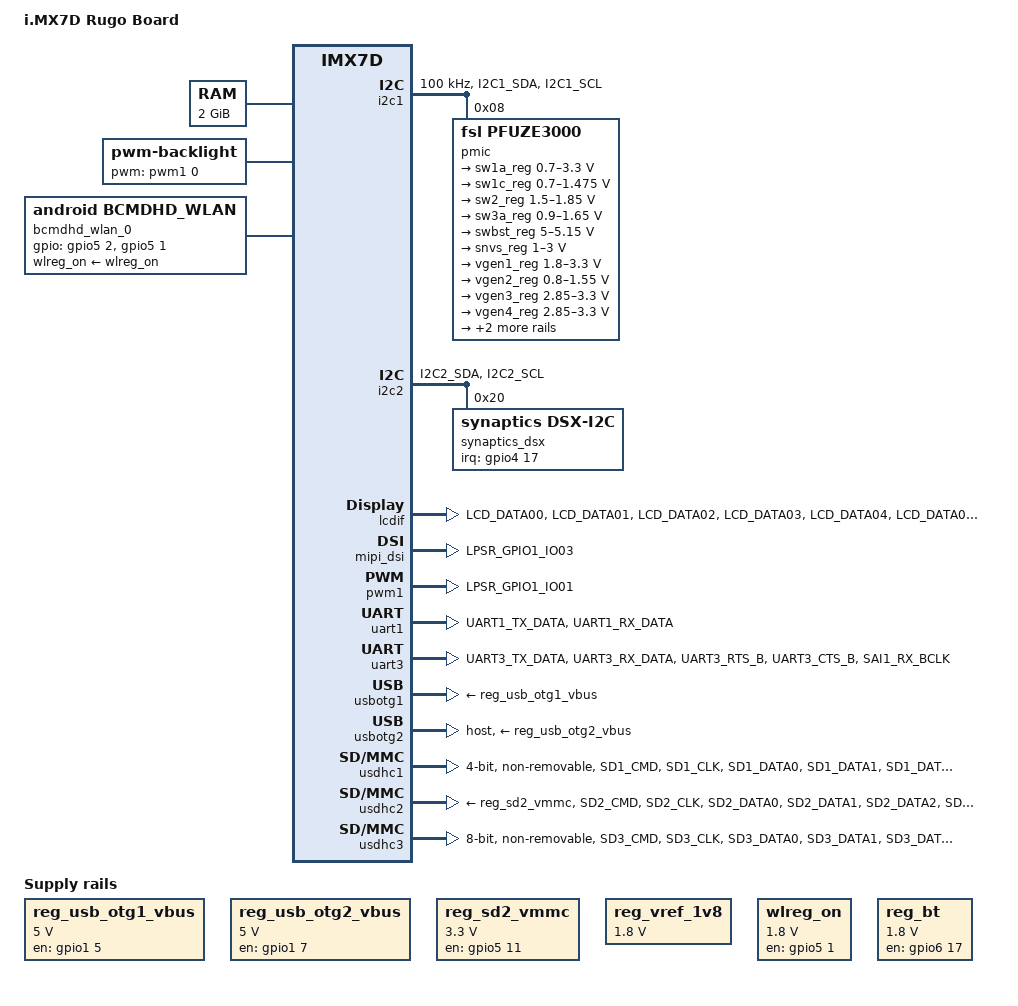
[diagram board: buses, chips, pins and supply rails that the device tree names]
/*
 * Copyright (C) 2015 Freescale Semiconductor, Inc.
 *
 * This program is free software; you can redistribute it and/or modify
 * it under the terms of the GNU General Public License version 2 as
 * published by the Free Software Foundation.
 */


/dts-v1/;
#include <dt-bindings/input/input.h>
#include "imx7d.dtsi"

/ {
	model = "i.MX7D Rugo Board";
	compatible = "RUGO,imx7d-rugo", "fsl,imx7d";

	memory {
		reg = <0x80000000 0x80000000>;
	};

	backlight {
		compatible = "pwm-backlight";
		pwms = <&pwm1 0 5000000>;
		brightness-levels = <0 4 8 16 32 64 128 255>;
		default-brightness-level = <6>;
		status = "okay";
	};

	mipi_dsi_reset: mipi-dsi-reset {
		compatible = "gpio-reset";
		/*reset-gpios = <&gpio7 6 GPIO_ACTIVE_LOW>;
		reset-delay-us = <50>;*/
		#reset-cells = <0>;
	};

	pxp_v4l2_out {
		compatible = "fsl,imx7d-pxp-v4l2", "fsl,imx6sx-pxp-v4l2", "fsl,imx6sl-pxp-v4l2";
		status = "okay";
	};
/*
	sound {
		compatible = "fsl,imx7d-evk-wm8960",
			     "fsl,imx-audio-wm8960";
		model = "wm8960-audio";
		cpu-dai = <&sai1>;
		audio-codec = <&codec>;
		codec-master;
		JD2: hp detect high for headphone
		hp-det = <2 0>;
		hp-det-gpios = <&gpio2 28 0>;
		audio-routing =
			"Headphone Jack", "HP_L",
			"Headphone Jack", "HP_R",
			"Ext Spk", "SPK_LP",
			"Ext Spk", "SPK_LN",
			"Ext Spk", "SPK_RP",
			"Ext Spk", "SPK_RN",
			"LINPUT1", "Main MIC",
			"Main MIC", "MICB";
		assigned-clocks = <&clks IMX7D_AUDIO_MCLK_ROOT_SRC>,
			          <&clks IMX7D_AUDIO_MCLK_ROOT_CLK>;
		assigned-clock-parents = <&clks IMX7D_PLL_AUDIO_POST_DIV>;
		assigned-clock-rates = <0>, <12288000>;
	};

	sound-hdmi {
		compatible = "fsl,imx7d-sdb-sii902x",
			   "fsl,imx-audio-sii902x";
		model = "sii902x-audio";
		cpu-dai = <&sai3>;
		hdmi-controler = <&sii902x>;
	};
	spi1 {
		compatible = "spi-gpio";
		pinctrl-names = "default";
		pinctrl-0 = <&pinctrl_spi1>;
		status = "okay";
		gpio-sck = <&gpio1 13 0>;
		gpio-mosi = <&gpio1 9 0>;
		cs-gpios = <&gpio1 12 0>;
		num-chipselects = <1>;
		#address-cells = <1>;
		#size-cells = <0>;

		gpio_spi: gpio_spi@0 {
			compatible = "fairchild,74hc595";
			gpio-controller;
			#gpio-cells = <2>;
			reg = <0>;
			registers-number = <1>;
			registers-default = /bits/ 8 <0x74>;  0x111 0100 Enable PERI_3V3, SENSOR_RST_B and HDMI_RST
			spi-max-frequency = <100000>;
		};
	};
*/
	
	regulators {                                    
		compatible = "simple-bus";
		#address-cells = <1>;
		#size-cells = <0>;

		reg_usb_otg1_vbus: regulator@0 {   			
			compatible = "regulator-fixed";
			reg = <0>;
			regulator-name = "usb_otg1_vbus";
			regulator-min-microvolt = <5000000>;
			regulator-max-microvolt = <5000000>;
			gpio = <&gpio1 5 0>;
			enable-active-high;
		};

		reg_usb_otg2_vbus: regulator@1 {			
			compatible = "regulator-fixed";
			reg = <1>;
			regulator-name = "usb_otg2_vbus";
			regulator-min-microvolt = <5000000>;
			regulator-max-microvolt = <5000000>;
			gpio = <&gpio1 7 0>;
			enable-active-high;
		};
		
		reg_sd2_vmmc: regulator@3 {					
			compatible = "regulator-fixed";
			regulator-name = "VDD_SD2";
			regulator-min-microvolt = <3300000>;
			regulator-max-microvolt = <3300000>;
			gpio = <&gpio5 11 GPIO_ACTIVE_HIGH>;	
			startup-delay-us = <200000>;
			enable-active-high;
		};

		reg_vref_1v8: regulator@5 {					
			compatible = "regulator-fixed";
			reg = <5>;
			regulator-name = "vref-1v8";
			regulator-min-microvolt = <1800000>;
			regulator-max-microvolt = <1800000>;
		};
	};

	bcmdhd_wlan_0: bcmdhd_wlan@0 {
		compatible = "android,bcmdhd_wlan";	
		/* WL_HOST_WAKE=GPIO<5,2>, WL_REG_ON=GPIO<5,1>  */
		gpios = <&gpio5 2 0>,<&gpio5 1 0>;
		wlreg_on-supply = <&wlreg_on>;				
	};

	regulators {
		compatible = "simple-bus";
		#address-cells = <1>;
		#size-cells = <0>;

		wlreg_on: fixedregulator@100 {				
			compatible = "regulator-fixed";
			regulator-min-microvolt = <1800000>;
			regulator-max-microvolt = <1800000>;
			regulator-name = "wlreg_on";
			gpio = <&gpio5 1 0>;
			startup-delay-us = <100>;
			enable-active-high;
		};
	};
	reg_bt: bt-reg {
		compatible = "regulator-fixed";
		gpio = <&gpio6 17 GPIO_ACTIVE_HIGH>;
		regulator-name = "bt_reg";
		regulator-min-microvolt = <1800000>;
		regulator-max-microvolt = <1800000>;
		enable-active-high;
		regulator-always-on;

	};

};

&cpu0 {
	arm-supply = <&sw1a_reg>;
};

&clks {
	assigned-clocks = <&clks IMX7D_PLL_AUDIO_POST_DIV>;
	assigned-clock-rates = <884736000>;
};

&i2c1 {
	clock-frequency = <100000>;
	pinctrl-names = "default";
	pinctrl-0 = <&pinctrl_i2c1>;
	status = "okay";

	pmic: pfuze3000@08 {
		compatible = "fsl,pfuze3000";
		reg = <0x08>;

		regulators {
			sw1a_reg: sw1a {
				regulator-min-microvolt = <700000>;
				regulator-max-microvolt = <3300000>;
				regulator-boot-on;
				regulator-always-on;
				regulator-ramp-delay = <6250>;
			};

			/* use sw1c_reg to align with pfuze100/pfuze200 */
			sw1c_reg: sw1b {
				regulator-min-microvolt = <700000>;
				regulator-max-microvolt = <1475000>;
				regulator-boot-on;
				regulator-always-on;
				regulator-ramp-delay = <6250>;
			};

			sw2_reg: sw2 {
				regulator-min-microvolt = <1500000>;
				regulator-max-microvolt = <1850000>;
				regulator-boot-on;
				regulator-always-on;
			};

			sw3a_reg: sw3 {
				regulator-min-microvolt = <900000>;
				regulator-max-microvolt = <1650000>;
				regulator-boot-on;
				regulator-always-on;
			};

			swbst_reg: swbst {
				regulator-min-microvolt = <5000000>;
				regulator-max-microvolt = <5150000>;
			};

			snvs_reg: vsnvs {
				regulator-min-microvolt = <1000000>;
				regulator-max-microvolt = <3000000>;
				regulator-boot-on;
				regulator-always-on;
			};

			vref_reg: vrefddr {
				regulator-boot-on;
				regulator-always-on;
			};

			vgen1_reg: vldo1 {
				regulator-min-microvolt = <1800000>;
				regulator-max-microvolt = <3300000>;
				regulator-always-on;
			};

			vgen2_reg: vldo2 {
				regulator-min-microvolt = <800000>;
				regulator-max-microvolt = <1550000>;
				regulator-always-on;
			};

			vgen3_reg: vccsd {
				regulator-min-microvolt = <2850000>;
				regulator-max-microvolt = <3300000>;
				regulator-always-on;
			};

			vgen4_reg: v33 {
				regulator-min-microvolt = <2850000>;
				regulator-max-microvolt = <3300000>;
				regulator-always-on;
			};

			vgen5_reg: vldo3 {
				regulator-min-microvolt = <1800000>;
				regulator-max-microvolt = <3300000>;
				regulator-always-on;
			};

			vgen6_reg: vldo4 {
				regulator-min-microvolt = <1800000>;
				regulator-max-microvolt = <3300000>;
				regulator-always-on;
			};
		};
	};
};


&i2c2 {
	cclock-frequency = <100000>;
	pinctrl-names = "default";
	pinctrl-0 = <&pinctrl_i2c2>;
	status = "okay";

	 himax-ts@48 {
		status = "disabled";
                compatible = "himax,852xes";
                reg = <0x48>;
                pinctrl-0 = <&pinctrl_ctp>;
                interrupt-parent = <&gpio4>;
                interrupts = <17 IRQ_TYPE_EDGE_FALLING>;

                himax,panel-coords = <0 320 0 320>;
                himax,display-coords = <0 320 0 320>;
                himax,irq-gpio = <&gpio4 17 0x00>;
                report_type = <1>;
	};

	synaptics_dsx@20 {
		compatible = "synaptics,dsx-i2c";
		reg = <0x20>;

		interrupt-parent = <&gpio4>;
		interrupts = <17 IRQ_TYPE_EDGE_FALLING>;

		pinctrl-names = "default";
		pinctrl-0 = <&pinctrl_ts_active>;
		synaptics,ub-i2c-addr = <0x2c>;
		synaptics,irq-gpio = <&gpio4 17 0x2008>;
		synaptics,irq-on-state = <0>;
		synaptics,power-delay-ms = <200>;
		/* synaptics,reset-gpio = <&gpio1 14 GPIO_ACTIVE_LOW>; */
		synaptics,reset-delay-ms = <200>;
		synaptics,reset-on-state = <0>;
		synaptics,reset-active-ms = <20>;
		/* uncomment and update line below as appropriate if there are 0D buttons */
		/* synaptics,cap-button-codes = <102 158>; */
		/* uncomment and update lines below as appropriate if there are virtual buttons */
		/* synaptics,vir-button-codes = <102 100 900 100 60 158 300 900 100 60>; */
		/* synaptics,max-y-for-2d = <800>; */
	};
	
};


/*
&i2c3 {
	clock-frequency = <100000>;
	pinctrl-names = "default";
	pinctrl-0 = <&pinctrl_i2c3>;
	status = "okay";

	sii902x: sii902x@39 {
		compatible = "SiI,sii902x";
		pinctrl-names = "default";
		pinctrl-0 = <&pinctrl_sii902x>;
		interrupt-parent = <&gpio2>;
		interrupts = <13 IRQ_TYPE_EDGE_FALLING>;
		mode_str ="1920x1080M@60";
		bits-per-pixel = <16>;
		reg = <0x39>;
		status = "okay";
	};
};

&i2c4 {
	clock-frequency = <100000>;
	pinctrl-names = "default";
	pinctrl-0 = <&pinctrl_i2c4>;
	status = "okay";

};
*/

&iomuxc {
	pinctrl-names = "default";

	imx7d-rugo {
		pinctrl_i2c1: i2c1grp {
			fsl,pins = <
				MX7D_PAD_I2C1_SDA__I2C1_SDA	0x4000007f
				MX7D_PAD_I2C1_SCL__I2C1_SCL	0x4000007f
			>;
		};

		pinctrl_i2c2: i2c2grp {
			fsl,pins = <
				MX7D_PAD_I2C2_SDA__I2C2_SDA	0x4000007f
				MX7D_PAD_I2C2_SCL__I2C2_SCL	0x4000007f
			>;
		};
		/*
		pinctrl_i2c3: i2c3grp {
			fsl,pins = <
				MX7D_PAD_I2C3_SDA__I2C3_SDA          0x4000007f
				MX7D_PAD_I2C3_SCL__I2C3_SCL          0x4000007f
			>;
		};

		pinctrl_i2c4: i2c4grp {
			fsl,pins = <
				MX7D_PAD_SAI1_RX_BCLK__I2C4_SDA		0x4000007f
				MX7D_PAD_SAI1_RX_SYNC__I2C4_SCL		0x4000007f
			>;
		};
		*/
		pinctrl_lcdif_dat: lcdifdatgrp {
			fsl,pins = <
				MX7D_PAD_LCD_DATA00__LCD_DATA0	0x79
				MX7D_PAD_LCD_DATA01__LCD_DATA1	0x79
				MX7D_PAD_LCD_DATA02__LCD_DATA2	0x79
				MX7D_PAD_LCD_DATA03__LCD_DATA3	0x79
				MX7D_PAD_LCD_DATA04__LCD_DATA4	0x79
				MX7D_PAD_LCD_DATA05__LCD_DATA5	0x79
				MX7D_PAD_LCD_DATA06__LCD_DATA6	0x79
				MX7D_PAD_LCD_DATA07__LCD_DATA7	0x79
				MX7D_PAD_LCD_DATA08__LCD_DATA8	0x79
				MX7D_PAD_LCD_DATA09__LCD_DATA9	0x79
				MX7D_PAD_LCD_DATA10__LCD_DATA10	0x79
				MX7D_PAD_LCD_DATA11__LCD_DATA11	0x79
				MX7D_PAD_LCD_DATA12__LCD_DATA12	0x79
				MX7D_PAD_LCD_DATA13__LCD_DATA13	0x79
				MX7D_PAD_LCD_DATA14__LCD_DATA14	0x79
				MX7D_PAD_LCD_DATA15__LCD_DATA15	0x79
				MX7D_PAD_LCD_DATA16__LCD_DATA16	0x79
				MX7D_PAD_LCD_DATA17__LCD_DATA17	0x79
				MX7D_PAD_LCD_DATA18__LCD_DATA18	0x79
				MX7D_PAD_LCD_DATA19__LCD_DATA19	0x79
				MX7D_PAD_LCD_DATA20__LCD_DATA20	0x79
				MX7D_PAD_LCD_DATA21__LCD_DATA21	0x79
				MX7D_PAD_LCD_DATA22__LCD_DATA22	0x79
				MX7D_PAD_LCD_DATA23__LCD_DATA23	0x79
			>;
		};

		pinctrl_lcdif_ctrl: lcdifctrlgrp {
			fsl,pins = <
				MX7D_PAD_LCD_CLK__LCD_CLK	0x79
				MX7D_PAD_LCD_ENABLE__LCD_ENABLE	0x79
				MX7D_PAD_LCD_VSYNC__LCD_VSYNC	0x79
				MX7D_PAD_LCD_HSYNC__LCD_HSYNC	0x79
				MX7D_PAD_LCD_RESET__LCD_RESET	0x79
			>;
		};

		pinctrl_gpio_keys: gpio_keysgrp {
			fsl,pins = <
				MX7D_PAD_EPDC_DATA03__GPIO2_IO3 		0x59
				MX7D_PAD_EPDC_DATA04__GPIO2_IO4 		0x59
			>;
		};

		pinctrl_ctp: ctp {
            fsl,pins = <
                /*MX7D_PAD_ECSPI1_SCLK__GPIO4_IO16    0x14*/
                MX7D_PAD_ECSPI1_MOSI__GPIO4_IO17 0x14
            >;
        };

		pinctrl_ts_active: ts_active {
			fsl,pins = <
				/*MX7D_PAD_ECSPI1_SCLK__GPIO4_IO16    0x14*/
				MX7D_PAD_ECSPI1_MOSI__GPIO4_IO17    0x14
			>;
		};

		pinctrl_spi1: spi1grp {
			fsl,pins = <
				MX7D_PAD_GPIO1_IO09__GPIO1_IO9	0x59
				MX7D_PAD_GPIO1_IO12__GPIO1_IO12	0x59
				MX7D_PAD_GPIO1_IO13__GPIO1_IO13	0x59
			>;
		};
		pinctrl_sii902x: hdmigrp-1 {
			fsl,pins = <
				MX7D_PAD_EPDC_DATA13__GPIO2_IO13 0x59
			>;
		};

		pinctrl_uart1: uart1grp {
			fsl,pins = <
				MX7D_PAD_UART1_TX_DATA__UART1_DCE_TX 0x79
				MX7D_PAD_UART1_RX_DATA__UART1_DCE_RX 0x79
			>;
		};

		pinctrl_uart3: uart3grp {     						
			fsl,pins = <
				MX7D_PAD_UART3_TX_DATA__UART3_DCE_TX 0x79
				MX7D_PAD_UART3_RX_DATA__UART3_DCE_RX 0x79
				MX7D_PAD_UART3_RTS_B__UART3_DCE_RTS 0x79
				MX7D_PAD_UART3_CTS_B__UART3_DCE_CTS 0x79
				MX7D_PAD_SAI1_RX_BCLK__GPIO6_IO17 	0X14/*BT_REG_ON*/

			>;
		};

		pinctrl_usdhc2_gpio: usdhc2gpiogrp {  				
			fsl,pins = <
				MX7D_PAD_SD2_RESET_B__GPIO5_IO11	0x59 
				MX7D_PAD_GPIO1_IO08__SD1_VSELECT	0x59 

			>;
		};
		pinctrl_usdhc2: usdhc2grp {							
			fsl,pins = <
				MX7D_PAD_SD2_CMD__SD2_CMD	0x59
				MX7D_PAD_SD2_CLK__SD2_CLK	0x19
				MX7D_PAD_SD2_DATA0__SD2_DATA0	0x59
				MX7D_PAD_SD2_DATA1__SD2_DATA1	0x59
				MX7D_PAD_SD2_DATA2__SD2_DATA2	0x59
				MX7D_PAD_SD2_DATA3__SD2_DATA3	0x59
			>;
		};

		pinctrl_usdhc2_100mhz: usdhc2grp_100mhz {
			fsl,pins = <
				MX7D_PAD_SD2_CMD__SD2_CMD	0x5a
				MX7D_PAD_SD2_CLK__SD2_CLK	0x1a
				MX7D_PAD_SD2_DATA0__SD2_DATA0	0x5a
				MX7D_PAD_SD2_DATA1__SD2_DATA1	0x5a
				MX7D_PAD_SD2_DATA2__SD2_DATA2	0x5a
				MX7D_PAD_SD2_DATA3__SD2_DATA3	0x5a

			>;
		};

		pinctrl_usdhc2_200mhz: usdhc2grp_200mhz {
			fsl,pins = <
				MX7D_PAD_SD2_CMD__SD2_CMD	0x5b
				MX7D_PAD_SD2_CLK__SD2_CLK	0x1b
				MX7D_PAD_SD2_DATA0__SD2_DATA0	0x5b
				MX7D_PAD_SD2_DATA1__SD2_DATA1	0x5b
				MX7D_PAD_SD2_DATA2__SD2_DATA2	0x5b
				MX7D_PAD_SD2_DATA3__SD2_DATA3	0x5b
			>;
		};

		pinctrl_usdhc1: usdhc1grp {					
			fsl,pins = <
				MX7D_PAD_SD1_CMD__SD1_CMD		0x59
				MX7D_PAD_SD1_CLK__SD1_CLK		0x19
				MX7D_PAD_SD1_DATA0__SD1_DATA0	0x59
				MX7D_PAD_SD1_DATA1__SD1_DATA1   0x59
				MX7D_PAD_SD1_DATA2__SD1_DATA2   0x59
				MX7D_PAD_SD1_DATA3__SD1_DATA3   0x59
				MX7D_PAD_SD1_WP__GPIO5_IO1		0x59
				MX7D_PAD_SD1_RESET_B__GPIO5_IO2 0x59
			>;
		};

		pinctrl_usdhc1_100mhz: usdhc1grp_100mhz {
			fsl,pins = <
				MX7D_PAD_SD1_CMD__SD1_CMD		0x5a
				MX7D_PAD_SD1_CLK__SD1_CLK		0x1a
				MX7D_PAD_SD1_DATA0__SD1_DATA0	0x5a
				MX7D_PAD_SD1_DATA1__SD1_DATA1   0x5a
				MX7D_PAD_SD1_DATA2__SD1_DATA2   0x5a
				MX7D_PAD_SD1_DATA3__SD1_DATA3   0x5a
				MX7D_PAD_SD1_WP__GPIO5_IO1		0x59 
			>;
		};

		pinctrl_usdhc1_200mhz: usdhc1grp_200mhz {
			fsl,pins = <
				MX7D_PAD_SD1_CMD__SD1_CMD		0x5b
				MX7D_PAD_SD1_CLK__SD1_CLK		0x1b
				MX7D_PAD_SD1_DATA0__SD1_DATA0	0x5b
				MX7D_PAD_SD1_DATA1__SD1_DATA1   0x5b
				MX7D_PAD_SD1_DATA2__SD1_DATA2   0x5b
				MX7D_PAD_SD1_DATA3__SD1_DATA3   0x5b
				MX7D_PAD_SD1_WP__GPIO5_IO1		0x59
			>;
		};

		pinctrl_usdhc3: usdhc3grp {
			fsl,pins = <
				MX7D_PAD_SD3_CMD__SD3_CMD	0x59
				MX7D_PAD_SD3_CLK__SD3_CLK	0x19
				MX7D_PAD_SD3_DATA0__SD3_DATA0	0x59
				MX7D_PAD_SD3_DATA1__SD3_DATA1	0x59
				MX7D_PAD_SD3_DATA2__SD3_DATA2	0x59
				MX7D_PAD_SD3_DATA3__SD3_DATA3	0x59
				MX7D_PAD_SD3_DATA4__SD3_DATA4	0x59
				MX7D_PAD_SD3_DATA5__SD3_DATA5	0x59
				MX7D_PAD_SD3_DATA6__SD3_DATA6	0x59
				MX7D_PAD_SD3_DATA7__SD3_DATA7	0x59
				MX7D_PAD_SD3_RESET_B__SD3_RESET_B 0x19
			>;
		};

		pinctrl_usdhc3_100mhz: usdhc3grp_100mhz {
			fsl,pins = <
				MX7D_PAD_SD3_CMD__SD3_CMD	0x5a
				MX7D_PAD_SD3_CLK__SD3_CLK	0x1a
				MX7D_PAD_SD3_DATA0__SD3_DATA0	0x5a
				MX7D_PAD_SD3_DATA1__SD3_DATA1	0x5a
				MX7D_PAD_SD3_DATA2__SD3_DATA2	0x5a
				MX7D_PAD_SD3_DATA3__SD3_DATA3	0x5a
				MX7D_PAD_SD3_DATA4__SD3_DATA4	0x5a
				MX7D_PAD_SD3_DATA5__SD3_DATA5	0x5a
				MX7D_PAD_SD3_DATA6__SD3_DATA6	0x5a
				MX7D_PAD_SD3_DATA7__SD3_DATA7	0x5a
				MX7D_PAD_SD3_RESET_B__SD3_RESET_B 0x1a
			>;
		};

		pinctrl_usdhc3_200mhz: usdhc3grp_200mhz {
			fsl,pins = <
				MX7D_PAD_SD3_CMD__SD3_CMD	0x5b
				MX7D_PAD_SD3_CLK__SD3_CLK	0x1b
				MX7D_PAD_SD3_DATA0__SD3_DATA0	0x5b
				MX7D_PAD_SD3_DATA1__SD3_DATA1	0x5b
				MX7D_PAD_SD3_DATA2__SD3_DATA2	0x5b
				MX7D_PAD_SD3_DATA3__SD3_DATA3	0x5b
				MX7D_PAD_SD3_DATA4__SD3_DATA4	0x5b
				MX7D_PAD_SD3_DATA5__SD3_DATA5	0x5b
				MX7D_PAD_SD3_DATA6__SD3_DATA6	0x5b
				MX7D_PAD_SD3_DATA7__SD3_DATA7	0x5b
				MX7D_PAD_SD3_RESET_B__SD3_RESET_B 0x1b
			>;
		};
	};
};

&lcdif {

	disp-dev = "mipi_dsi_samsung";

	pinctrl-names = "default";
	pinctrl-0 = <&pinctrl_lcdif_dat
		     &pinctrl_lcdif_ctrl>;
	/* there is no direct LCD reset control pin */
	display = <&display0>;
	status = "okay";

	display0: display {
		bits-per-pixel = <24>;
		bus-width = <24>;

		display-timings {
			native-mode = <&timing0>;
			timing0: timing0 {
			clock-frequency = <9200000>;
			hactive = <480>;
			vactive = <272>;
			hfront-porch = <8>;
			hback-porch = <4>;
			hsync-len = <41>;
			vback-porch = <2>;
			vfront-porch = <4>;
			vsync-len = <10>;

			hsync-active = <0>;
			vsync-active = <0>;
			de-active = <1>;
			pixelclk-active = <0>;
			};
		};
	};
};

&mipi_dsi {
	pinctrl-names = "default";
	pinctrl-0 = <&pinctrl_enet2_epdc0_en>;
	lcd_panel = "TRULY-TDO-ST7796H";	/* TRULY-TDO-QVGA0150A90049 */
	resets = <&mipi_dsi_reset>;
	back-light-gpios = <&gpio1 3 0>;
	/*reset-gpios = <&gpio7 6 0>;*/
	status = "okay";
};
/*
&sai1 {
	pinctrl-names = "default";
	pinctrl-0 = <&pinctrl_sai1>;
	assigned-clocks = <&clks IMX7D_SAI1_ROOT_SRC>,
			  <&clks IMX7D_SAI1_ROOT_CLK>;
	assigned-clock-parents = <&clks IMX7D_PLL_AUDIO_POST_DIV>;
	assigned-clock-rates = <0>, <36864000>;
	status = "okay";
};

&sai3 {
	pinctrl-names = "default";
	pinctrl-0 = <&pinctrl_sai3 &pinctrl_sai3_mclk>;
	assigned-clocks = <&clks IMX7D_SAI3_ROOT_SRC>,
			  <&clks IMX7D_SAI3_ROOT_CLK>;
	assigned-clock-parents = <&clks IMX7D_PLL_AUDIO_POST_DIV>;
	assigned-clock-rates = <0>, <36864000>;
	status = "okay";
};
*/

&sdma {
	status = "okay";
};

&pwm1 {
	pinctrl-names = "default";
	pinctrl-0 = <&pinctrl_pwm1>;
	status = "okay";
};

&iomuxc_lpsr {
	pinctrl-names = "default";
	pinctrl-0 = <&pinctrl_hog_2 &pinctrl_usbotg2_pwr_2>;

	imx7d-rugo {
		pinctrl_hog_2: hoggrp-2 {
			fsl,pins = <
				MX7D_PAD_LPSR_GPIO1_IO05__GPIO1_IO5	0x14
			>;
		};
		
		pinctrl_pwm1: pwm1grp {
			fsl,pins = <
				MX7D_PAD_LPSR_GPIO1_IO01__PWM1_OUT	0x30
			>;
		};
		
		pinctrl_usbotg2_pwr_2: usbotg2-2 {
			fsl,pins = <
				MX7D_PAD_LPSR_GPIO1_IO07__GPIO1_IO7	0x14
			>;
		};
		
		pinctrl_wdog: wdoggrp {
			fsl,pins = <
				MX7D_PAD_LPSR_GPIO1_IO00__WDOD1_WDOG_B	0x74
			>;
		};
		/*
		pinctrl_sai3_mclk: sai3grp_mclk {
			fsl,pins = <
				MX7D_PAD_LPSR_GPIO1_IO03__SAI3_MCLK	0x1f
			>;
		};*/

		pinctrl_enet2_epdc0_en: enet2_epdc0_grp {
			fsl,pins = <
			/*MX7D_PAD_ENET1_RGMII_RD2__GPIO7_IO2 0x00*/
			MX7D_PAD_LPSR_GPIO1_IO03__GPIO1_IO3	0x00
			>;
		};
	};
};

&uart1 {
	pinctrl-names = "default";
	pinctrl-0 = <&pinctrl_uart1>;
	assigned-clocks = <&clks IMX7D_UART1_ROOT_SRC>;
	assigned-clock-parents = <&clks IMX7D_OSC_24M_CLK>;
	status = "okay";
};


&uart3 {
	pinctrl-names = "default";
	pinctrl-0 = <&pinctrl_uart3>;
	assigned-clocks = <&clks IMX7D_UART3_ROOT_SRC>;
	assigned-clock-parents = <&clks IMX7D_PLL_SYS_MAIN_240M_CLK>;
	fsl,uart-has-rtscts;
	status = "okay";
};

&usbotg1 {
	vbus-supply = <&reg_usb_otg1_vbus>;
	srp-disable;
	hnp-disable;
	adp-disable;
	disable-over-current;
	status = "okay";

};

&usbotg2 {
	vbus-supply = <&reg_usb_otg2_vbus>;
	disable-over-current;
	dr_mode = "host";
	status = "okay";
};

/*wifi*/
&usdhc1 {
	pinctrl-names = "default", "state_100mhz", "state_200mhz";
	pinctrl-0 = <&pinctrl_usdhc1>;
	pinctrl-1 = <&pinctrl_usdhc1_100mhz>;
	pinctrl-2 = <&pinctrl_usdhc1_200mhz>;
	cd-post;
	bus-width = <4>;
	non-removable;
	pm-ignore-notify;
	no-1-8-v;
	enable-sdio-wakeup;
	keep-power-in-suspend;
	wifi-host; 
	status = "okay";
};
/*sd*/
&usdhc2 {
	pinctrl-names = "default", "state_100mhz", "state_200mhz";
	pinctrl-0 = <&pinctrl_usdhc2>, <&pinctrl_usdhc2_gpio>;
	pinctrl-1 = <&pinctrl_usdhc2_100mhz>, <&pinctrl_usdhc2_gpio>;
	pinctrl-2 = <&pinctrl_usdhc2_200mhz>, <&pinctrl_usdhc2_gpio>;
	vmmc-supply = <&reg_sd2_vmmc>;
	enable-sdio-wakeup;
	keep-power-in-suspend;
	status = "okay";
};

&usdhc3 {
	pinctrl-names = "default", "state_100mhz", "state_200mhz";
	pinctrl-0 = <&pinctrl_usdhc3>;
	pinctrl-1 = <&pinctrl_usdhc3_100mhz>;
	pinctrl-2 = <&pinctrl_usdhc3_200mhz>;
	assigned-clocks = <&clks IMX7D_USDHC3_ROOT_CLK>;
	assigned-clock-rates = <400000000>;
	bus-width = <8>;
	tuning-step = <2>;
	non-removable;
	status = "okay";
};

&wdog1 {
	pinctrl-names = "default";
	pinctrl-0 = <&pinctrl_wdog>;
	fsl,wdog_b;
};

